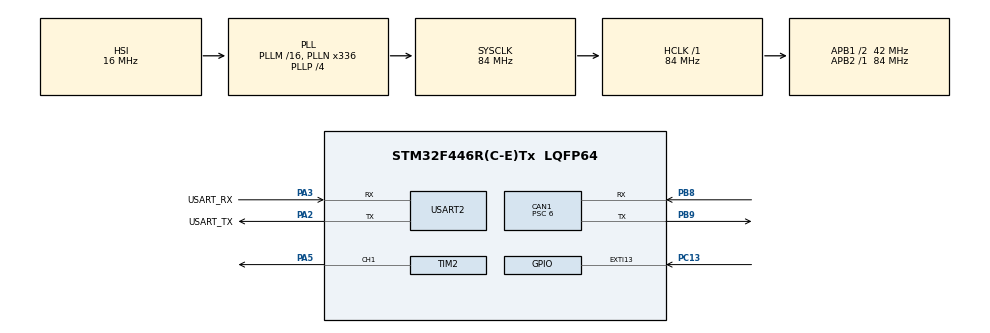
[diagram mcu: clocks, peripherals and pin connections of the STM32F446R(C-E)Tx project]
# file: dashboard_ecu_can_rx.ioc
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CAN1.BS1=CAN_BS1_11TQ
CAN1.BS2=CAN_BS2_2TQ
CAN1.CalculateBaudRate=500000
CAN1.CalculateTimeBit=2000
CAN1.CalculateTimeQuantum=142.85714285714286
CAN1.Prescaler=6
Mcu.Family=STM32F4
Mcu.Name=STM32F446R(C-E)Tx
Mcu.Package=LQFP64
NUCLEO-F446RE.BUTTON=1
NUCLEO-F446RE.LD1=true
NVIC.EXTI15_10_IRQn=true\:0\:0\:false\:false\:true\:false\:true\:true
NVIC.PriorityGroup=NVIC_PRIORITYGROUP_0
PA13.GPIO_Label=TMS
PA13.Signal=SYS_JTMS-SWDIO
PA14.GPIO_Label=TCK
PA14.Signal=SYS_JTCK-SWCLK
PA2.GPIO_Label=USART_TX
PA2.Mode=Asynchronous
PA2.Signal=USART2_TX
PA3.GPIO_Label=USART_RX
PA3.Mode=Asynchronous
PA3.Signal=USART2_RX
PA5.Signal=S_TIM2_CH1_ETR
PB3.GPIO_Label=SWO
PB3.Signal=SYS_JTDO-SWO
PB8.Mode=CAN_Activate
PB8.Signal=CAN1_RX
PB9.Mode=CAN_Activate
PB9.Signal=CAN1_TX
PC13.Signal=GPXTI13
PC14-OSC32_IN.Signal=RCC_OSC32_IN
PC15-OSC32_OUT.Signal=RCC_OSC32_OUT
PH0-OSC_IN.Signal=RCC_OSC_IN
PH1-OSC_OUT.Signal=RCC_OSC_OUT
ProjectManager.HeapSize=0x200
ProjectManager.StackSize=0x400
ProjectManager.TargetToolchain=STM32CubeIDE
RCC.AHBFreq_Value=84000000
RCC.APB1CLKDivider=RCC_HCLK_DIV2
RCC.APB1Freq_Value=42000000
RCC.APB1TimFreq_Value=84000000
RCC.APB2Freq_Value=84000000
RCC.APB2TimFreq_Value=84000000
RCC.CortexFreq_Value=84000000
RCC.FLatency-AdvancedSettings=FLASH_LATENCY_2
RCC.HCLKFreq_Value=84000000
RCC.HSE_VALUE=8000000
RCC.HSI_VALUE=16000000
RCC.LSE_VALUE=32768
RCC.PLLN=336
RCC.PLLP=RCC_PLLP_DIV4
RCC.SYSCLKFreq_VALUE=84000000
RCC.SYSCLKSource=RCC_SYSCLKSOURCE_PLLCLK
RCC.USBFreq_Value=168000000
RCC.VCOOutputFreq_Value=336000000
SH.S_TIM2_CH1_ETR.0=TIM2_CH1,PWM Generation1 CH1
TIM2.Channel-PWM\ Generation1\ CH1=TIM_CHANNEL_1
TIM2.Period=999
TIM2.Prescaler=83
USART2.VirtualMode=VM_ASYNC
VP_NUCLEO-F446RE_VS_BSP_COMMON.Mode=COMMON
board=NUCLEO-F446RE

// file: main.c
/* USER CODE BEGIN Header */
/**
  ******************************************************************************
  * @file           : main.c
  * @brief          : Main program body
  ******************************************************************************
  * @attention
  *
  * Copyright (c) 2026 STMicroelectronics.
  * All rights reserved.
  *
  * This software is licensed under terms that can be found in the LICENSE file
  * in the root directory of this software component.
  * If no LICENSE file comes with this software, it is provided AS-IS.
  *
  ******************************************************************************
  */
/* USER CODE END Header */
#include "main.h"

/* USER CODE BEGIN Includes */
#include <stdio.h>
#include <string.h>
/* USER CODE END Includes */

/* USER CODE BEGIN PD */
#define PEDAL_CAN_ID 0x100
#define CAN_TIMEOUT_MS 1000
#define PWM_MAX_DUTY 999
/* USER CODE END PD */

CAN_HandleTypeDef hcan1;

TIM_HandleTypeDef htim2;

UART_HandleTypeDef huart2;

/* USER CODE BEGIN PV */
CAN_RxHeaderTypeDef RxHeader;
uint8_t RxData[8];
char msg[100];

uint32_t lastRxTime = 0;
uint8_t timeoutFlag = 0;
/* USER CODE END PV */

void SystemClock_Config(void);
static void MX_GPIO_Init(void);
static void MX_CAN1_Init(void);
static void MX_USART2_UART_Init(void);
static void MX_TIM2_Init(void);

int main(void)
{

  /* MCU Configuration--------------------------------------------------------*/

  /* Reset of all peripherals, Initializes the Flash interface and the Systick. */
  HAL_Init();

  /* Configure the system clock */
  SystemClock_Config();

  /* Initialize all configured peripherals */
  MX_GPIO_Init();
  MX_CAN1_Init();
  MX_USART2_UART_Init();
  MX_TIM2_Init();
  /* USER CODE BEGIN 2 */
  CAN_FilterTypeDef canfilterconfig;

  canfilterconfig.FilterActivation = CAN_FILTER_ENABLE;
  canfilterconfig.FilterBank = 0;
  canfilterconfig.FilterFIFOAssignment = CAN_RX_FIFO0;
  canfilterconfig.FilterIdHigh = 0x0000;
  canfilterconfig.FilterIdLow = 0x0000;
  canfilterconfig.FilterMaskIdHigh = 0x0000;
  canfilterconfig.FilterMaskIdLow = 0x0000;
  canfilterconfig.FilterMode = CAN_FILTERMODE_IDMASK;
  canfilterconfig.FilterScale = CAN_FILTERSCALE_32BIT;
  canfilterconfig.SlaveStartFilterBank = 14;

  HAL_CAN_ConfigFilter(&hcan1, &canfilterconfig);
  HAL_CAN_Start(&hcan1);

  HAL_TIM_PWM_Start(&htim2, TIM_CHANNEL_1);

  snprintf(msg, sizeof(msg), "Dashboard ECU CAN RX PWM Start\r\n");
  HAL_UART_Transmit(&huart2, (uint8_t*)msg, strlen(msg), 100);

  lastRxTime = HAL_GetTick();
  /* USER CODE END 2 */

  /* Initialize leds */
  //BSP_LED_Init(LED2);

  /* Initialize USER push-button, will be used to trigger an interrupt each time it's pressed.*/
  BSP_PB_Init(BUTTON_USER, BUTTON_MODE_EXTI);

  /* Infinite loop */
  while (1)
  {

    /* USER CODE BEGIN 3 */

	  uint32_t currentTime = HAL_GetTick();

	  /* Check received CAN message */
	  if (HAL_CAN_GetRxFifoFillLevel(&hcan1, CAN_RX_FIFO0) > 0)
	  {
	    HAL_CAN_GetRxMessage(&hcan1, CAN_RX_FIFO0, &RxHeader, RxData);

	    if (RxHeader.StdId == PEDAL_CAN_ID && RxHeader.DLC >= 1)
	    {
	      uint8_t pedal_percent = RxData[0];
	      uint32_t pwm_duty = 0;

	      /* Update last CAN receive time */
	      lastRxTime = currentTime;

	      /* If CAN was in timeout state, restore normal state */
	      if (timeoutFlag == 1)
	      {
	        timeoutFlag = 0;

	        snprintf(msg, sizeof(msg), "CAN Restored\r\n");
	        HAL_UART_Transmit(&huart2, (uint8_t*)msg, strlen(msg), 100);
	      }

	      /* Limit pedal value */
	      if (pedal_percent > 100)
	      {
	        pedal_percent = 100;
	      }

	      /* Convert pedal percentage to PWM duty */
	      pwm_duty = (pedal_percent * PWM_MAX_DUTY) / 100;

	      /* Update Dashboard LED brightness */
	      __HAL_TIM_SET_COMPARE(&htim2, TIM_CHANNEL_1, pwm_duty);

	      snprintf(msg, sizeof(msg), "RX ID: 0x%03lX, Pedal: %d%%, PWM: %lu\r\n",
	               (unsigned long)RxHeader.StdId,
	               pedal_percent,
	               (unsigned long)pwm_duty);

	      HAL_UART_Transmit(&huart2, (uint8_t*)msg, strlen(msg), 100);
	    }
	  }

	  /* CAN timeout check */
	  if ((currentTime - lastRxTime) > CAN_TIMEOUT_MS)
	  {
	    if (timeoutFlag == 0)
	    {
	      timeoutFlag = 1;

	      /* Fail-safe: turn off Dashboard LED */
	      __HAL_TIM_SET_COMPARE(&htim2, TIM_CHANNEL_1, 0);

	      snprintf(msg, sizeof(msg), "CAN Timeout - Fail Safe Active\r\n");
	      HAL_UART_Transmit(&huart2, (uint8_t*)msg, strlen(msg), 100);
	    }
	  }

  /* USER CODE END 3 */
}
}

void SystemClock_Config(void)
{
  RCC_OscInitTypeDef RCC_OscInitStruct = {0};
  RCC_ClkInitTypeDef RCC_ClkInitStruct = {0};

  /** Configure the main internal regulator output voltage
  */
  __HAL_RCC_PWR_CLK_ENABLE();
  __HAL_PWR_VOLTAGESCALING_CONFIG(PWR_REGULATOR_VOLTAGE_SCALE3);

  /** Initializes the RCC Oscillators according to the specified parameters
  * in the RCC_OscInitTypeDef structure.
  */
  RCC_OscInitStruct.OscillatorType = RCC_OSCILLATORTYPE_HSI;
  RCC_OscInitStruct.HSIState = RCC_HSI_ON;
  RCC_OscInitStruct.HSICalibrationValue = RCC_HSICALIBRATION_DEFAULT;
  RCC_OscInitStruct.PLL.PLLState = RCC_PLL_ON;
  RCC_OscInitStruct.PLL.PLLSource = RCC_PLLSOURCE_HSI;
  RCC_OscInitStruct.PLL.PLLM = 16;
  RCC_OscInitStruct.PLL.PLLN = 336;
  RCC_OscInitStruct.PLL.PLLP = RCC_PLLP_DIV4;
  RCC_OscInitStruct.PLL.PLLQ = 2;
  RCC_OscInitStruct.PLL.PLLR = 2;
  if (HAL_RCC_OscConfig(&RCC_OscInitStruct) != HAL_OK)
  {
    Error_Handler();
  }

  /** Initializes the CPU, AHB and APB buses clocks
  */
  RCC_ClkInitStruct.ClockType = RCC_CLOCKTYPE_HCLK|RCC_CLOCKTYPE_SYSCLK
                              |RCC_CLOCKTYPE_PCLK1|RCC_CLOCKTYPE_PCLK2;
  RCC_ClkInitStruct.SYSCLKSource = RCC_SYSCLKSOURCE_PLLCLK;
  RCC_ClkInitStruct.AHBCLKDivider = RCC_SYSCLK_DIV1;
  RCC_ClkInitStruct.APB1CLKDivider = RCC_HCLK_DIV2;
  RCC_ClkInitStruct.APB2CLKDivider = RCC_HCLK_DIV1;

  if (HAL_RCC_ClockConfig(&RCC_ClkInitStruct, FLASH_LATENCY_2) != HAL_OK)
  {
    Error_Handler();
  }
}

static void MX_CAN1_Init(void)
{

  hcan1.Instance = CAN1;
  hcan1.Init.Prescaler = 6;
  hcan1.Init.Mode = CAN_MODE_NORMAL;
  hcan1.Init.SyncJumpWidth = CAN_SJW_1TQ;
  hcan1.Init.TimeSeg1 = CAN_BS1_11TQ;
  hcan1.Init.TimeSeg2 = CAN_BS2_2TQ;
  hcan1.Init.TimeTriggeredMode = DISABLE;
  hcan1.Init.AutoBusOff = DISABLE;
  hcan1.Init.AutoWakeUp = DISABLE;
  hcan1.Init.AutoRetransmission = DISABLE;
  hcan1.Init.ReceiveFifoLocked = DISABLE;
  hcan1.Init.TransmitFifoPriority = DISABLE;
  if (HAL_CAN_Init(&hcan1) != HAL_OK)
  {
    Error_Handler();
  }

}

static void MX_TIM2_Init(void)
{

  TIM_MasterConfigTypeDef sMasterConfig = {0};
  TIM_OC_InitTypeDef sConfigOC = {0};

  htim2.Instance = TIM2;
  htim2.Init.Prescaler = 83;
  htim2.Init.CounterMode = TIM_COUNTERMODE_UP;
  htim2.Init.Period = 999;
  htim2.Init.ClockDivision = TIM_CLOCKDIVISION_DIV1;
  htim2.Init.AutoReloadPreload = TIM_AUTORELOAD_PRELOAD_DISABLE;
  if (HAL_TIM_PWM_Init(&htim2) != HAL_OK)
  {
    Error_Handler();
  }
  sMasterConfig.MasterOutputTrigger = TIM_TRGO_RESET;
  sMasterConfig.MasterSlaveMode = TIM_MASTERSLAVEMODE_DISABLE;
  if (HAL_TIMEx_MasterConfigSynchronization(&htim2, &sMasterConfig) != HAL_OK)
  {
    Error_Handler();
  }
  sConfigOC.OCMode = TIM_OCMODE_PWM1;
  sConfigOC.Pulse = 0;
  sConfigOC.OCPolarity = TIM_OCPOLARITY_HIGH;
  sConfigOC.OCFastMode = TIM_OCFAST_DISABLE;
  if (HAL_TIM_PWM_ConfigChannel(&htim2, &sConfigOC, TIM_CHANNEL_1) != HAL_OK)
  {
    Error_Handler();
  }
  HAL_TIM_MspPostInit(&htim2);

}

static void MX_USART2_UART_Init(void)
{

  huart2.Instance = USART2;
  huart2.Init.BaudRate = 115200;
  huart2.Init.WordLength = UART_WORDLENGTH_8B;
  huart2.Init.StopBits = UART_STOPBITS_1;
  huart2.Init.Parity = UART_PARITY_NONE;
  huart2.Init.Mode = UART_MODE_TX_RX;
  huart2.Init.HwFlowCtl = UART_HWCONTROL_NONE;
  huart2.Init.OverSampling = UART_OVERSAMPLING_16;
  if (HAL_UART_Init(&huart2) != HAL_OK)
  {
    Error_Handler();
  }

}

static void MX_GPIO_Init(void)
{

  /* GPIO Ports Clock Enable */
  __HAL_RCC_GPIOC_CLK_ENABLE();
  __HAL_RCC_GPIOH_CLK_ENABLE();
  __HAL_RCC_GPIOA_CLK_ENABLE();
  __HAL_RCC_GPIOB_CLK_ENABLE();

}

void Error_Handler(void)
{
  __disable_irq();
  while (1)
  {
  }
}
